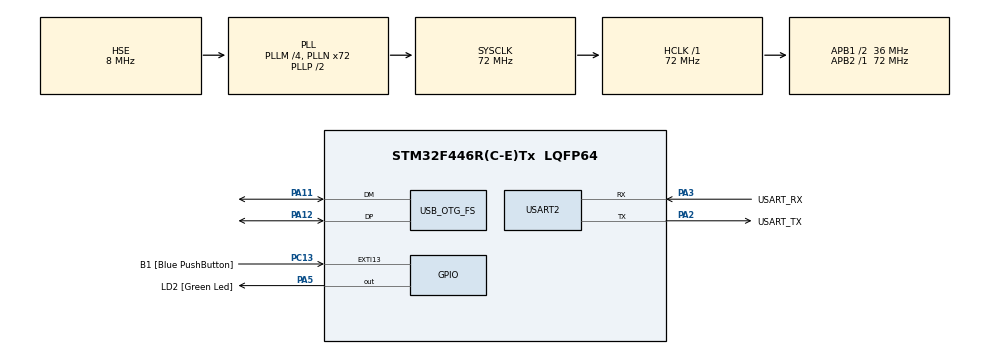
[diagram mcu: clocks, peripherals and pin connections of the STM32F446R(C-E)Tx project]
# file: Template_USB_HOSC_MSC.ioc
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FATFS._FS_EXFAT=1
FATFS._MAX_SS=4096
FATFS._USE_LFN=1
FATFS._USE_TRIM=0
Mcu.Family=STM32F4
Mcu.Name=STM32F446R(C-E)Tx
Mcu.Package=LQFP64
NVIC.OTG_FS_IRQn=true\:0\:0\:false\:false\:true\:false\:true\:true
NVIC.PriorityGroup=NVIC_PRIORITYGROUP_0
NVIC.RTC_Alarm_IRQn=true\:0\:0\:false\:false\:true\:true\:true\:true
PA11.Mode=Host_Only
PA11.Signal=USB_OTG_FS_DM
PA12.Mode=Host_Only
PA12.Signal=USB_OTG_FS_DP
PA13.GPIO_Label=TMS
PA13.Mode=Serial_Wire
PA13.Signal=SYS_JTMS-SWDIO
PA14.GPIO_Label=TCK
PA14.Mode=Serial_Wire
PA14.Signal=SYS_JTCK-SWCLK
PA2.GPIO_Label=USART_TX
PA2.Mode=Asynchronous
PA2.Signal=USART2_TX
PA3.GPIO_Label=USART_RX
PA3.Mode=Asynchronous
PA3.Signal=USART2_RX
PA5.GPIO_Label=LD2 [Green Led]
PA5.Signal=GPIO_Output
PB3.GPIO_Label=SWO
PB3.Signal=SYS_JTDO-SWO
PC13.GPIO_Label=B1 [Blue PushButton]
PC13.GPIO_ModeDefaultEXTI=GPIO_MODE_IT_FALLING
PC13.Signal=GPXTI13
PC14-OSC32_IN.Mode=LSE-External-Oscillator
PC14-OSC32_IN.Signal=RCC_OSC32_IN
PC15-OSC32_OUT.Mode=LSE-External-Oscillator
PC15-OSC32_OUT.Signal=RCC_OSC32_OUT
PH0-OSC_IN.Mode=HSE-External-Oscillator
PH0-OSC_IN.Signal=RCC_OSC_IN
PH1-OSC_OUT.Mode=HSE-External-Oscillator
PH1-OSC_OUT.Signal=RCC_OSC_OUT
ProjectManager.HeapSize=0x200
ProjectManager.StackSize=0x400
ProjectManager.TargetToolchain=STM32CubeIDE
RCC.48MHZClocksFreq_Value=84000000
RCC.AHBFreq_Value=72000000
RCC.APB1CLKDivider=RCC_HCLK_DIV2
RCC.APB1Freq_Value=36000000
RCC.APB1TimFreq_Value=72000000
RCC.APB2Freq_Value=72000000
RCC.APB2TimFreq_Value=72000000
RCC.CortexFreq_Value=72000000
RCC.FLatency-AdvancedSettings=FLASH_LATENCY_2
RCC.HCLKFreq_Value=72000000
RCC.HSE_VALUE=8000000
RCC.HSI_VALUE=16000000
RCC.PLLM=4
RCC.PLLN=72
RCC.PLLQ=3
RCC.RCC_RTC_Clock_SourceVirtual=RCC_RTCCLKSOURCE_LSE
RCC.SYSCLKFreq_VALUE=72000000
RCC.SYSCLKSource=RCC_SYSCLKSOURCE_PLLCLK
RCC.USBFreq_Value=48000000
RCC.VCOOutputFreq_Value=144000000
RTC.Alarm=RTC_ALARM_A
USART2.VirtualMode=VM_ASYNC
USB_HOST.USBH_HandleTypeDef-MSC_FS=hUsbHostFS
USB_HOST.VirtualModeFS=Msc
USB_OTG_FS.VirtualMode=Host_Only
USB_OTG_FS.phy_itface=HCD_PHY_EMBEDDED
VP_FATFS_VS_USB.Mode=USB
VP_RTC_VS_RTC_Activate.Mode=RTC_Enabled
VP_RTC_VS_RTC_Alarm_A_Intern.Mode=Alarm A
VP_RTC_VS_RTC_Calendar.Mode=RTC_Calendar
VP_USB_HOST_VS_USB_HOST_MSC_FS.Mode=MSC_FS
board=NUCLEO-F446RE

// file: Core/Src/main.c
/* USER CODE BEGIN Header */
/**
  ******************************************************************************
  * @file           : main.c
  * @brief          : Main program body
  ******************************************************************************
  * @attention
  *
  * Copyright (c) 2025 STMicroelectronics.
  * All rights reserved.
  *
  * This software is licensed under terms that can be found in the LICENSE file
  * in the root directory of this software component.
  * If no LICENSE file comes with this software, it is provided AS-IS.
  *
  ******************************************************************************
  */
/* USER CODE END Header */
#include "main.h"
#include "fatfs.h"
#include "usb_host.h"

RTC_HandleTypeDef hrtc;

UART_HandleTypeDef huart2;

/* USER CODE BEGIN PV */
uint8_t alarm = 0;
char time[30];
char date[30];
/* USER CODE END PV */

void SystemClock_Config(void);
static void MX_GPIO_Init(void);
static void MX_USART2_UART_Init(void);
static void MX_RTC_Init(void);
void MX_USB_HOST_Process(void);

/* USER CODE BEGIN PFP */
void set_time(void);
void get_time(void);
void display_time(void);
void set_alarm(void);
DWORD le_data_e_hora_para_fucao_get_fattime_do_FatFs(void);
/* USER CODE END PFP */

int main(void)
{

  /* MCU Configuration--------------------------------------------------------*/

  /* Reset of all peripherals, Initializes the Flash interface and the Systick. */
  HAL_Init();

  /* Configure the system clock */
  SystemClock_Config();

  /* Initialize all configured peripherals */
  MX_GPIO_Init();
  MX_USART2_UART_Init();
  MX_FATFS_Init();
  MX_USB_HOST_Init();
  MX_RTC_Init();
  /* USER CODE BEGIN 2 */

  //Verifica se o RTC já foi ajustado
  if(HAL_RTCEx_BKUPRead(&hrtc, 10) != 0x1322)
  {
	  set_time();
	  HAL_RTCEx_BKUPWrite(&hrtc, 10, 0x1322);
  }
  //set_time();
  set_alarm();

  /* USER CODE END 2 */

  /* Infinite loop */
  while (1)
  {
    MX_USB_HOST_Process();

  }
}

void SystemClock_Config(void)
{
  RCC_OscInitTypeDef RCC_OscInitStruct = {0};
  RCC_ClkInitTypeDef RCC_ClkInitStruct = {0};

  /** Configure the main internal regulator output voltage
  */
  __HAL_RCC_PWR_CLK_ENABLE();
  __HAL_PWR_VOLTAGESCALING_CONFIG(PWR_REGULATOR_VOLTAGE_SCALE3);

  /** Initializes the RCC Oscillators according to the specified parameters
  * in the RCC_OscInitTypeDef structure.
  */
  RCC_OscInitStruct.OscillatorType = RCC_OSCILLATORTYPE_HSE|RCC_OSCILLATORTYPE_LSE;
  RCC_OscInitStruct.HSEState = RCC_HSE_ON;
  RCC_OscInitStruct.LSEState = RCC_LSE_ON;
  RCC_OscInitStruct.PLL.PLLState = RCC_PLL_ON;
  RCC_OscInitStruct.PLL.PLLSource = RCC_PLLSOURCE_HSE;
  RCC_OscInitStruct.PLL.PLLM = 4;
  RCC_OscInitStruct.PLL.PLLN = 72;
  RCC_OscInitStruct.PLL.PLLP = RCC_PLLP_DIV2;
  RCC_OscInitStruct.PLL.PLLQ = 3;
  RCC_OscInitStruct.PLL.PLLR = 2;
  if (HAL_RCC_OscConfig(&RCC_OscInitStruct) != HAL_OK)
  {
    Error_Handler();
  }

  /** Initializes the CPU, AHB and APB buses clocks
  */
  RCC_ClkInitStruct.ClockType = RCC_CLOCKTYPE_HCLK|RCC_CLOCKTYPE_SYSCLK
                              |RCC_CLOCKTYPE_PCLK1|RCC_CLOCKTYPE_PCLK2;
  RCC_ClkInitStruct.SYSCLKSource = RCC_SYSCLKSOURCE_PLLCLK;
  RCC_ClkInitStruct.AHBCLKDivider = RCC_SYSCLK_DIV1;
  RCC_ClkInitStruct.APB1CLKDivider = RCC_HCLK_DIV2;
  RCC_ClkInitStruct.APB2CLKDivider = RCC_HCLK_DIV1;

  if (HAL_RCC_ClockConfig(&RCC_ClkInitStruct, FLASH_LATENCY_2) != HAL_OK)
  {
    Error_Handler();
  }
}

static void MX_RTC_Init(void)
{

  RTC_TimeTypeDef sTime = {0};
  RTC_DateTypeDef sDate = {0};
  RTC_AlarmTypeDef sAlarm = {0};

  /** Initialize RTC Only
  */
  hrtc.Instance = RTC;
  hrtc.Init.HourFormat = RTC_HOURFORMAT_24;
  hrtc.Init.AsynchPrediv = 127;
  hrtc.Init.SynchPrediv = 255;
  hrtc.Init.OutPut = RTC_OUTPUT_DISABLE;
  hrtc.Init.OutPutPolarity = RTC_OUTPUT_POLARITY_HIGH;
  hrtc.Init.OutPutType = RTC_OUTPUT_TYPE_OPENDRAIN;
  if (HAL_RTC_Init(&hrtc) != HAL_OK)
  {
    Error_Handler();
  }

  /** Initialize RTC and set the Time and Date
  */
  sTime.Hours = 0x0;
  sTime.Minutes = 0x0;
  sTime.Seconds = 0x0;
  sTime.DayLightSaving = RTC_DAYLIGHTSAVING_NONE;
  sTime.StoreOperation = RTC_STOREOPERATION_RESET;
  if (HAL_RTC_SetTime(&hrtc, &sTime, RTC_FORMAT_BCD) != HAL_OK)
  {
    Error_Handler();
  }
  sDate.WeekDay = RTC_WEEKDAY_MONDAY;
  sDate.Month = RTC_MONTH_JANUARY;
  sDate.Date = 0x1;
  sDate.Year = 0x0;

  if (HAL_RTC_SetDate(&hrtc, &sDate, RTC_FORMAT_BCD) != HAL_OK)
  {
    Error_Handler();
  }

  /** Enable the Alarm A
  */
  sAlarm.AlarmTime.Hours = 0x0;
  sAlarm.AlarmTime.Minutes = 0x0;
  sAlarm.AlarmTime.Seconds = 0x0;
  sAlarm.AlarmTime.SubSeconds = 0x0;
  sAlarm.AlarmTime.DayLightSaving = RTC_DAYLIGHTSAVING_NONE;
  sAlarm.AlarmTime.StoreOperation = RTC_STOREOPERATION_RESET;
  sAlarm.AlarmMask = RTC_ALARMMASK_NONE;
  sAlarm.AlarmSubSecondMask = RTC_ALARMSUBSECONDMASK_ALL;
  sAlarm.AlarmDateWeekDaySel = RTC_ALARMDATEWEEKDAYSEL_DATE;
  sAlarm.AlarmDateWeekDay = 0x1;
  sAlarm.Alarm = RTC_ALARM_A;
  if (HAL_RTC_SetAlarm_IT(&hrtc, &sAlarm, RTC_FORMAT_BCD) != HAL_OK)
  {
    Error_Handler();
  }

}

static void MX_USART2_UART_Init(void)
{

  huart2.Instance = USART2;
  huart2.Init.BaudRate = 115200;
  huart2.Init.WordLength = UART_WORDLENGTH_8B;
  huart2.Init.StopBits = UART_STOPBITS_1;
  huart2.Init.Parity = UART_PARITY_NONE;
  huart2.Init.Mode = UART_MODE_TX_RX;
  huart2.Init.HwFlowCtl = UART_HWCONTROL_NONE;
  huart2.Init.OverSampling = UART_OVERSAMPLING_16;
  if (HAL_UART_Init(&huart2) != HAL_OK)
  {
    Error_Handler();
  }

}

static void MX_GPIO_Init(void)
{
  GPIO_InitTypeDef GPIO_InitStruct = {0};

  /* GPIO Ports Clock Enable */
  __HAL_RCC_GPIOC_CLK_ENABLE();
  __HAL_RCC_GPIOH_CLK_ENABLE();
  __HAL_RCC_GPIOA_CLK_ENABLE();
  __HAL_RCC_GPIOB_CLK_ENABLE();

  /*Configure GPIO pin Output Level */
  HAL_GPIO_WritePin(LD2_GPIO_Port, LD2_Pin, GPIO_PIN_RESET);

  /*Configure GPIO pin : B1_Pin */
  GPIO_InitStruct.Pin = B1_Pin;
  GPIO_InitStruct.Mode = GPIO_MODE_IT_FALLING;
  GPIO_InitStruct.Pull = GPIO_NOPULL;
  HAL_GPIO_Init(B1_GPIO_Port, &GPIO_InitStruct);

  /*Configure GPIO pin : LD2_Pin */
  GPIO_InitStruct.Pin = LD2_Pin;
  GPIO_InitStruct.Mode = GPIO_MODE_OUTPUT_PP;
  GPIO_InitStruct.Pull = GPIO_NOPULL;
  GPIO_InitStruct.Speed = GPIO_SPEED_FREQ_LOW;
  HAL_GPIO_Init(LD2_GPIO_Port, &GPIO_InitStruct);

}

/* USER CODE BEGIN 4 */
void set_time(void)
{
	RTC_TimeTypeDef sTime = {0};
	RTC_DateTypeDef sDate = {0};

	//Initialize RTC and set the Time and Date
	sTime.Hours = 0x15;
	sTime.Minutes = 0x50;
	sTime.Seconds = 0x00;
	sTime.DayLightSaving = RTC_DAYLIGHTSAVING_NONE;
	sTime.StoreOperation = RTC_STOREOPERATION_RESET;
	if (HAL_RTC_SetTime(&hrtc, &sTime, RTC_FORMAT_BCD) != HAL_OK)
	{
		Error_Handler();
	}

	sDate.WeekDay = RTC_WEEKDAY_SATURDAY;
	sDate.Month = RTC_MONTH_APRIL;
	sDate.Date = 0x02;
	sDate.Year = 0x25;
	if (HAL_RTC_SetDate(&hrtc, &sDate, RTC_FORMAT_BCD) != HAL_OK)
	{
		Error_Handler();
	}
}

void get_time(void)
{
	RTC_TimeTypeDef gTime = {0};
	RTC_DateTypeDef gDate = {0};

	HAL_RTC_GetTime(&hrtc, &gTime, RTC_FORMAT_BIN);
	HAL_RTC_GetDate(&hrtc, &gDate, RTC_FORMAT_BIN);

	sprintf(time, "%02d:%02d:%02d", gTime.Hours, gTime.Minutes, gTime.Seconds);
	sprintf(date, "%d/%d/%d", gDate.Date, gDate.Month, gDate.Year);
}

void display_time(void)
{
	HAL_UART_Transmit(&huart2, date, sizeof(date), 100);
	HAL_UART_Transmit(&huart2, " - ", 3, 100);
	HAL_UART_Transmit(&huart2, time, sizeof(time), 100);
	HAL_UART_Transmit(&huart2, "\r\n", 2, 100);
}

void set_alarm(void)
{
	RTC_AlarmTypeDef sAlarm = {0};

	// Enable the Alarm A
	sAlarm.AlarmTime.Hours = 0x15;
	sAlarm.AlarmTime.Minutes = 0x50;
	sAlarm.AlarmTime.Seconds = 0x30;
	sAlarm.AlarmTime.SubSeconds = 0x0;
	sAlarm.AlarmTime.DayLightSaving = RTC_DAYLIGHTSAVING_NONE;
	sAlarm.AlarmTime.StoreOperation = RTC_STOREOPERATION_RESET;
	sAlarm.AlarmMask = RTC_ALARMMASK_NONE;
	sAlarm.AlarmSubSecondMask = RTC_ALARMSUBSECONDMASK_ALL;
	sAlarm.AlarmDateWeekDaySel = RTC_ALARMDATEWEEKDAYSEL_WEEKDAY;
	sAlarm.AlarmDateWeekDay = RTC_WEEKDAY_SATURDAY;
	sAlarm.Alarm = RTC_ALARM_A;
	if (HAL_RTC_SetAlarm_IT(&hrtc, &sAlarm, RTC_FORMAT_BCD) != HAL_OK)
	{
		Error_Handler();
	}
}

void HAL_RTC_AlarmAEventCallback(RTC_HandleTypeDef *hrtc)
{
	alarm = 1;	//Declarar como global e volatile
}

DWORD le_data_e_hora_para_fucao_get_fattime_do_FatFs(void)
{
	RTC_TimeTypeDef gTime = {0};
	RTC_DateTypeDef gDate = {0};

	HAL_RTC_GetTime(&hrtc, &gTime, RTC_FORMAT_BIN);
	HAL_RTC_GetDate(&hrtc, &gDate, RTC_FORMAT_BIN);

	//http://elm-chan.org/fsw/ff/doc/fattime.html
	/*
	 * Currnet local time shall be returned as bit-fields packed into a DWORD value.
	 * The bit fields are as follows:
	 * bit31:25 Year origin from the 1980 (0..127, e.g. 37 for 2017)
	 * bit24:21 Month (1..12)
	 * bit20:16 Day of the month (1..31)
	 * bit15:11 Hour (0..23)
	 * bit10:5  Minute (0..59)
	 * bit4:0   Second / 2 (0..29, e.g. 25 for 50)
	 */

    return (DWORD)(gDate.Year + 20) << 25 |
           (DWORD)(gDate.Month) << 21 |
           (DWORD)(gDate.Date) << 16 |
           (DWORD)(gTime.Hours) << 11 |
           (DWORD)(gTime.Minutes) << 5 |
           (DWORD)(gTime.Seconds) >> 1;
}

/* USER CODE END 4 */

void Error_Handler(void)
{
  __disable_irq();
  while (1)
  {
  }
}
